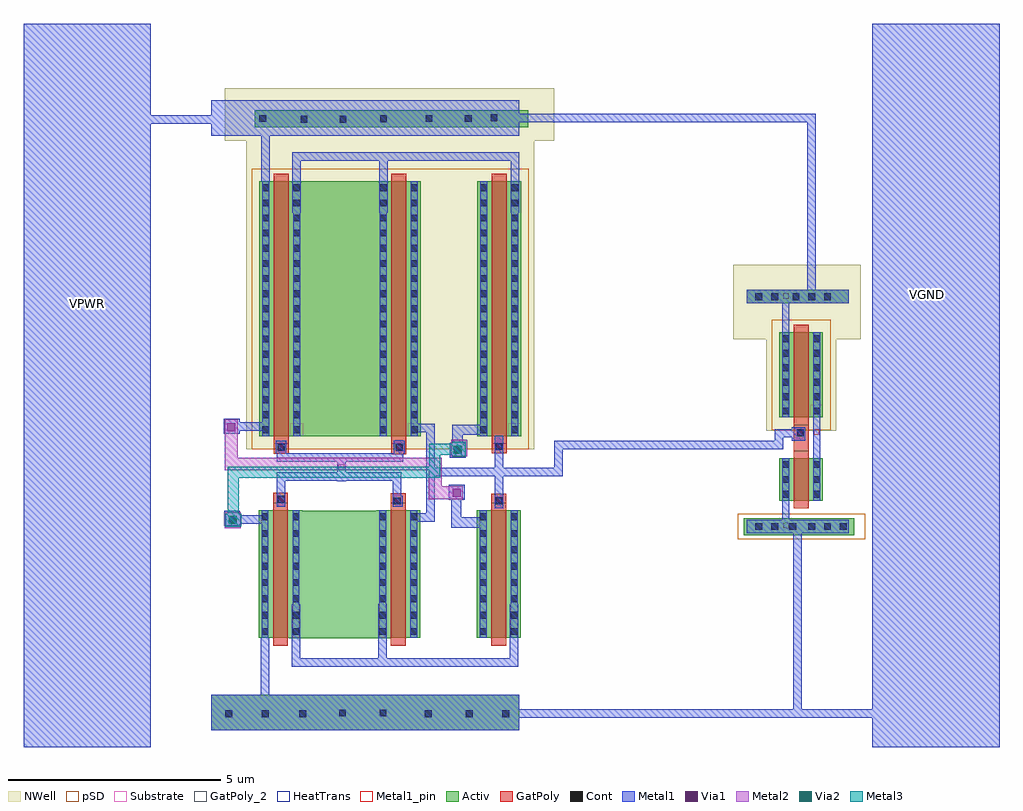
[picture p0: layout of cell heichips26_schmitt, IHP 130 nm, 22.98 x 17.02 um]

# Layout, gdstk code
import gdstk
lib = gdstk.Library(unit=1e-6, precision=1e-09)
def R(c, l, rs):  # rectangles x0, y0, x1, y1
    for r in rs: c.add(gdstk.rectangle(r[:2], r[2:], *l))
def A(c, l, x, y, w, h, nx, ny, dx, dy):  # array of equal rectangles
    R(c, l, [(x+i*dx, y+j*dy, x+i*dx+w, y+j*dy+h) for i in range(nx) for j in range(ny)])
Activ = (1, 0)
GatPoly = (5, 0)
GatPoly_2 = (5, 2)
Cont = (6, 0)
Metal1 = (8, 0)
Metal1_pin = (8, 2)
Metal2 = (10, 0)
pSD = (14, 0)
Via1 = (19, 0)
Via2 = (29, 0)
Metal3 = (30, 0)
NWell = (31, 0)
Substrate = (40, 0)
HeatTrans = (51, 0)

nmos = lib.new_cell('nmos')
R(nmos, Activ, [(0,0,0.3,0.3), (0,0,1.03,1), (0.73,0,1.03,0.3)])
R(nmos, GatPoly, [(0.34,-0.18,0.69,1.18)])
R(nmos, GatPoly_2, [(0.34,-0.18,0.69,1.18)])
A(nmos, Cont, 0.07, 0.07, 0.16, 0.16, 1, 3, 0, 0.35)
A(nmos, Cont, 0.8, 0.07, 0.16, 0.16, 1, 3, 0, 0.35)
R(nmos, Metal1, [(0.07,0,0.23,1), (0.8,0,0.96,1)])
R(nmos, Metal1_pin, [(0.07,0,0.23,1), (0.8,0,0.96,1)])
R(nmos, HeatTrans, [(0.34,-0.18,0.69,1.18)])
nmos.add(gdstk.Label('nmos', (0.515,0.5), layer=63, texttype=0))
nmos.add(gdstk.Label('nmos', (0.515,0.5), layer=51, texttype=0))

pmos = lib.new_cell('pmos')
R(pmos, Activ, [(0,0,0.3,0.3), (0,0,1.03,2), (0.73,0,1.03,0.3)])
R(pmos, GatPoly, [(0.34,-0.18,0.69,2.18), (0.34,-0.18,0.69,2.18)])
A(pmos, Cont, 0.07, 0.07, 0.16, 0.16, 1, 6, 0, 0.34)
A(pmos, Cont, 0.8, 0.07, 0.16, 0.16, 1, 6, 0, 0.34)
R(pmos, Metal1, [(0.07,0,0.23,2), (0.07,0,0.23,2), (0.8,0,0.96,2), (0.8,0,0.96,2)])
R(pmos, pSD, [(-0.18,-0.3,1.21,2.3)])
R(pmos, NWell, [(-0.31,-0.31,1.34,2.31)])
R(pmos, Substrate, [(0.73,0,1.03,0.3)])
R(pmos, HeatTrans, [(0.34,-0.18,0.69,2.18)])
pmos.add(gdstk.Label('pmos', (0.515,1), layer=63, texttype=0))
pmos.add(gdstk.Label('pmos', (0.515,1), layer=51, texttype=0))

inv = lib.new_cell('inv')
R(inv, Activ, [(-1.21,1.927,1.39,2.327), (-1.145,7.382,1.255,7.697)])
R(inv, GatPoly, [(-0.04,3.837,0.31,4.472), (-0.04,4.202,0.31,4.837)])
A(inv, Cont, -0.065, 7.457, 0.16, 0.16, 3, 1, 0.37, 0)
R(inv, Cont, [(-0.945,2.047,-0.785,2.207), (-0.565,2.047,-0.405,2.207), (-0.14,2.047,0.02,2.207), (0.305,2.047,0.465,2.207), (0.675,2.047,0.835,2.207), (1.05,2.047,1.21,2.207), (0.04,4.252,0.2,4.412), (-0.945,7.457,-0.785,7.617), (-0.565,7.457,-0.405,7.617)])
R(inv, Metal1, [(-1.145,1.972,1.255,2.287), (-0.31,2.147,-0.15,2.782), (0.42,3.72,0.58,4.7), (-0.08,4.147,0.23,4.462), (-0.31,6.692,-0.15,7.467), (-1.145,7.382,1.255,7.697)])
R(inv, Metal1_pin, [(-0.29,2.082,-0.16,2.212), (-10.755,3.462,-10.625,3.592), (0.435,4.292,0.565,4.422), (-0.29,7.492,-0.16,7.622)])
R(inv, pSD, [(-1.36,1.827,1.64,2.427)])
R(inv, NWell, [(-1.46,6.537,1.54,8.287)])
inv.add(gdstk.Reference(nmos, (-0.38,2.735)))
inv.add(gdstk.Reference(pmos, (-0.38,4.695)))
inv.add(gdstk.Label('OUT', (0.5,4.36), layer=8, texttype=25))
inv.add(gdstk.Label('VSS', (-0.225,2.12), layer=8, texttype=25))
inv.add(gdstk.Label('VDD', (-0.225,7.55), layer=8, texttype=25))
inv.add(gdstk.Label('IN', (-10.615,3.565), layer=8, texttype=25))

nmos_2 = lib.new_cell('nmos$2')
R(nmos_2, Activ, [(0,0,0.3,0.3), (0,0,1.03,3), (0.73,0,1.03,0.3)])
R(nmos_2, GatPoly, [(0.34,-0.18,0.69,3.18)])
R(nmos_2, GatPoly_2, [(0.34,-0.18,0.69,3.18)])
A(nmos_2, Cont, 0.07, 0.07, 0.16, 0.16, 1, 7, 0, 0.385)
A(nmos_2, Cont, 0.8, 0.07, 0.16, 0.16, 1, 7, 0, 0.385)
R(nmos_2, Cont, [(0.07,2.77,0.23,2.93), (0.8,2.77,0.96,2.93)])
R(nmos_2, Metal1, [(0.07,0,0.23,3), (0.8,0,0.96,3)])
R(nmos_2, Metal1_pin, [(0.07,0,0.23,3), (0.8,0,0.96,3)])
R(nmos_2, HeatTrans, [(0.34,-0.18,0.69,3.18)])
nmos_2.add(gdstk.Label('nmos', (0.515,1.5), layer=63, texttype=0))
nmos_2.add(gdstk.Label('nmos', (0.515,1.5), layer=51, texttype=0))

pmos_2 = lib.new_cell('pmos$2')
R(pmos_2, Activ, [(0,0,0.3,0.3), (0,0,1.03,6), (0.73,0,1.03,0.3)])
R(pmos_2, GatPoly, [(0.34,-0.18,0.69,6.18), (0.34,-0.18,0.69,6.18)])
A(pmos_2, Cont, 0.07, 0.07, 0.16, 0.16, 1, 4, 0, 0.355)
A(pmos_2, Cont, 0.8, 0.07, 0.16, 0.16, 1, 4, 0, 0.355)
A(pmos_2, Cont, 0.07, 1.495, 0.16, 0.16, 1, 4, 0, 0.355)
A(pmos_2, Cont, 0.8, 1.495, 0.16, 0.16, 1, 4, 0, 0.355)
A(pmos_2, Cont, 0.07, 2.92, 0.16, 0.16, 1, 4, 0, 0.355)
A(pmos_2, Cont, 0.8, 2.92, 0.16, 0.16, 1, 4, 0, 0.355)
A(pmos_2, Cont, 0.07, 4.345, 0.16, 0.16, 1, 4, 0, 0.355)
A(pmos_2, Cont, 0.8, 4.345, 0.16, 0.16, 1, 4, 0, 0.355)
R(pmos_2, Cont, [(0.07,5.77,0.23,5.93), (0.8,5.77,0.96,5.93)])
R(pmos_2, Metal1, [(0.07,0,0.23,6), (0.07,0,0.23,6), (0.8,0,0.96,6), (0.8,0,0.96,6)])
R(pmos_2, pSD, [(-0.18,-0.3,1.21,6.3)])
R(pmos_2, NWell, [(-0.31,-0.31,1.34,6.31)])
R(pmos_2, Substrate, [(0.73,0,1.03,0.3)])
R(pmos_2, HeatTrans, [(0.34,-0.18,0.69,6.18)])
pmos_2.add(gdstk.Label('pmos', (0.515,3), layer=63, texttype=0))
pmos_2.add(gdstk.Label('pmos', (0.515,3), layer=51, texttype=0))

heichips26_schmitt = lib.new_cell('heichips26_schmitt')
R(heichips26_schmitt, Activ, [(-7.072,-8.11,0.183,-7.28), (-7.072,-8.11,0.183,-7.28), (-5.232,-5.945,-2.847,-2.945), (-5.422,-1.195,-2.652,4.805), (-6.047,6.075,0.393,6.475)])
R(heichips26_schmitt, GatPoly, [(-0.477,-3.18,-0.127,-2.545), (-2.842,-3.17,-2.492,-2.535), (-5.612,-3.16,-5.262,-2.525), (-2.827,-1.615,-2.477,-0.98), (-5.597,-1.61,-5.247,-0.975), (-0.462,-1.595,-0.112,-0.96)])
R(heichips26_schmitt, Cont, [(-6.732,-7.81,-6.572,-7.65), (-5.877,-7.81,-5.717,-7.65), (-4.992,-7.81,-4.832,-7.65), (-2.037,-7.81,-1.877,-7.65), (-1.077,-7.81,-0.917,-7.65), (-0.217,-7.81,-0.057,-7.65), (-4.057,-7.79,-3.897,-7.63), (-3.102,-7.79,-2.942,-7.63), (-2.767,-2.8,-2.607,-2.64), (-0.372,-2.795,-0.212,-2.635), (-5.497,-2.76,-5.337,-2.6), (-2.722,-1.54,-2.562,-1.38), (-5.497,-1.535,-5.337,-1.375), (-0.372,-1.515,-0.212,-1.355), (-4.962,6.19,-4.802,6.35), (-4.047,6.19,-3.887,6.35), (-3.092,6.2,-2.932,6.36), (-5.937,6.205,-5.777,6.365), (-2.022,6.205,-1.862,6.365), (-1.097,6.205,-0.937,6.365), (-0.492,6.22,-0.332,6.38)])
R(heichips26_schmitt, Metal1, [(-11.487,-8.51,-8.497,8.51), (8.493,-8.51,11.488,8.51), (-7.072,-8.11,0.183,-7.28), (-6.767,-3.305,-6.392,-2.95), (-2.797,-2.85,-2.562,-2.6), (-1.477,-2.69,-1.102,-2.335), (-1.457,-1.7,-1.082,-1.345), (-5.547,-1.6,-5.297,-1.3), (-2.767,-1.595,-2.517,-1.295), (-6.772,-1.14,-6.397,-0.785), (-7.072,5.88,0.183,6.71)])
R(heichips26_schmitt, Metal1_pin, [(-10.052,1.855,-9.922,1.985), (9.733,2.07,9.863,2.2)])
R(heichips26_schmitt, Metal2, [(-6.752,-3.365,-6.372,-2.985), (-1.417,-1.66,-1.037,-1.28)])
R(heichips26_schmitt, pSD, [(-6.117,-1.495,0.408,5.105)])
R(heichips26_schmitt, Via1, [(-6.652,-3.255,-6.462,-3.065), (-1.387,-2.615,-1.197,-2.425), (-1.362,-1.605,-1.172,-1.415), (-6.687,-1.08,-6.497,-0.89)])
R(heichips26_schmitt, Via2, [(-6.652,-3.255,-6.462,-3.065), (-1.362,-1.605,-1.172,-1.415)])
R(heichips26_schmitt, Metal3, [(-6.737,-3.325,-6.357,-3.015), (-1.397,-1.675,-1.072,-1.325)])
R(heichips26_schmitt, NWell, [(-6.247,-1.505,0.538,5.115), (-6.247,5.115,0.538,6.71), (-6.747,5.76,1.008,6.995)])
heichips26_schmitt.add(gdstk.FlexPath([(-5.802,-5.944),(-5.802,-8.109)], 0.2, ends="flush", simple_path=True, layer=8, datatype=0))  # Metal1
heichips26_schmitt.add(gdstk.FlexPath([(-5.787,4.806),(-5.787,6.711)], 0.2, ends="flush", simple_path=True, layer=8, datatype=0))  # Metal1
heichips26_schmitt.add(gdstk.FlexPath([(-3.997,-1.599),(-3.997,-2.249)], 0.2, ends="flush", simple_path=True, layer=8, datatype=0))  # Metal1
heichips26_schmitt.add(gdstk.FlexPath([(-6.772,-0.964),(-5.707,-0.964)], 0.2, ends="flush", simple_path=True, layer=8, datatype=0))  # Metal1
heichips26_schmitt.add(gdstk.FlexPath([(-2.382,-3.104),(-1.907,-3.104),(-1.907,-1.004),(-2.367,-1.004)], 0.2, ends="flush", simple_path=True, layer=8, datatype=0))  # Metal1
heichips26_schmitt.add(gdstk.FlexPath([(-3.017,4.066),(-3.017,5.491)], 0.2, ends="flush", simple_path=True, layer=8, datatype=0))  # Metal1
heichips26_schmitt.add(gdstk.FlexPath([(-5.057,4.071),(-5.057,5.396),(0.078,5.396),(0.078,4.071)], 0.2, ends="flush", simple_path=True, layer=8, datatype=0))  # Metal1
heichips26_schmitt.add(gdstk.FlexPath([(-2.642,-1.294),(-2.642,-1.694),(-5.422,-1.694),(-5.422,-1.299),(-5.422,-1.299)], 0.2, ends="flush", simple_path=True, layer=8, datatype=0))  # Metal1
heichips26_schmitt.add(gdstk.FlexPath([(-1.272,-1.649),(-1.272,-1.044),(-0.572,-1.044)], 0.24, ends="flush", simple_path=True, layer=8, datatype=0))  # Metal1
heichips26_schmitt.add(gdstk.FlexPath([(-5.422,-2.849),(-5.422,-2.144),(-2.697,-2.144),(-2.697,-2.849)], 0.2, ends="flush", simple_path=True, layer=8, datatype=0))  # Metal1
heichips26_schmitt.add(gdstk.FlexPath([(-1.297,-2.399),(-1.297,-3.224),(-0.587,-3.224)], 0.24, ends="flush", simple_path=True, layer=8, datatype=0))  # Metal1
heichips26_schmitt.add(gdstk.FlexPath([(-0.292,-2.889),(-0.292,-1.184)], 0.2, ends="flush", simple_path=True, layer=8, datatype=0))  # Metal1
heichips26_schmitt.add(gdstk.FlexPath([(-2.007,-2.039),(-0.192,-2.039)], 0.2, ends="flush", simple_path=True, layer=8, datatype=0))  # Metal1
heichips26_schmitt.add(gdstk.FlexPath([(-5.722,-3.159),(-6.767,-3.159)], 0.2, ends="flush", simple_path=True, layer=8, datatype=0))  # Metal1
heichips26_schmitt.add(gdstk.FlexPath([(-3.032,-5.134),(-3.032,-6.609)], 0.2, ends="flush", simple_path=True, layer=8, datatype=0))  # Metal1
heichips26_schmitt.add(gdstk.FlexPath([(-5.072,-5.149),(-5.072,-6.524),(0.063,-6.524),(0.063,-5.149)], 0.2, ends="flush", simple_path=True, layer=8, datatype=0))  # Metal1
heichips26_schmitt.add(gdstk.FlexPath([(-0.347,6.301),(7.068,6.301),(7.068,1.931)], 0.2, ends="flush", simple_path=True, layer=8, datatype=0))  # Metal1
heichips26_schmitt.add(gdstk.FlexPath([(6.738,-3.317),(6.738,-7.719),(-1.072,-7.719)], 0.2, ends="flush", simple_path=True, layer=8, datatype=0))  # Metal1
heichips26_schmitt.add(gdstk.FlexPath([(6.903,-1.124),(6.303,-1.124),(6.303,-1.399),(1.103,-1.399),(1.103,-2.039),(-0.292,-2.039)], 0.2, ends="flush", simple_path=True, layer=8, datatype=0))  # Metal1
heichips26_schmitt.add(gdstk.FlexPath([(6.738,-7.719),(9.003,-7.719)], 0.2, ends="flush", simple_path=True, layer=8, datatype=0))  # Metal1
heichips26_schmitt.add(gdstk.FlexPath([(-5.742,6.256),(-8.752,6.256)], 0.2, ends="flush", simple_path=True, layer=8, datatype=0))  # Metal1
heichips26_schmitt.add(gdstk.FlexPath([(-6.597,-0.799),(-6.597,-1.849),(-1.797,-1.849),(-1.797,-2.524),(-1.142,-2.524),(-1.142,-2.524)], 0.3, ends="flush", simple_path=True, layer=10, datatype=0))  # Metal2
heichips26_schmitt.add(gdstk.FlexPath([(-6.552,-3.304),(-6.552,-2.039),(-1.807,-2.039),(-1.807,-1.504),(-1.132,-1.504)], 0.26, ends="flush", simple_path=True, layer=30, datatype=0))  # Metal3
heichips26_schmitt.add(gdstk.Reference(inv, (6.683,-5.447)))
heichips26_schmitt.add(gdstk.Reference(nmos_2, (-0.817,-5.942)))
heichips26_schmitt.add(gdstk.Reference(nmos_2, (-3.182,-5.942)))
heichips26_schmitt.add(gdstk.Reference(pmos_2, (-0.802,-1.192)))
heichips26_schmitt.add(gdstk.Reference(pmos_2, (-3.167,-1.192)))
heichips26_schmitt.add(gdstk.Reference(pmos_2, (-5.937,-1.192)))
heichips26_schmitt.add(gdstk.Reference(nmos_2, (-5.952,-5.942)))
heichips26_schmitt.add(gdstk.Label('VGND', (9.798,2.138), layer=8, texttype=25))
heichips26_schmitt.add(gdstk.Label('VPWR', (-9.987,1.923), layer=8, texttype=25))

lib.write_gds('heichips26_schmitt.gds')
